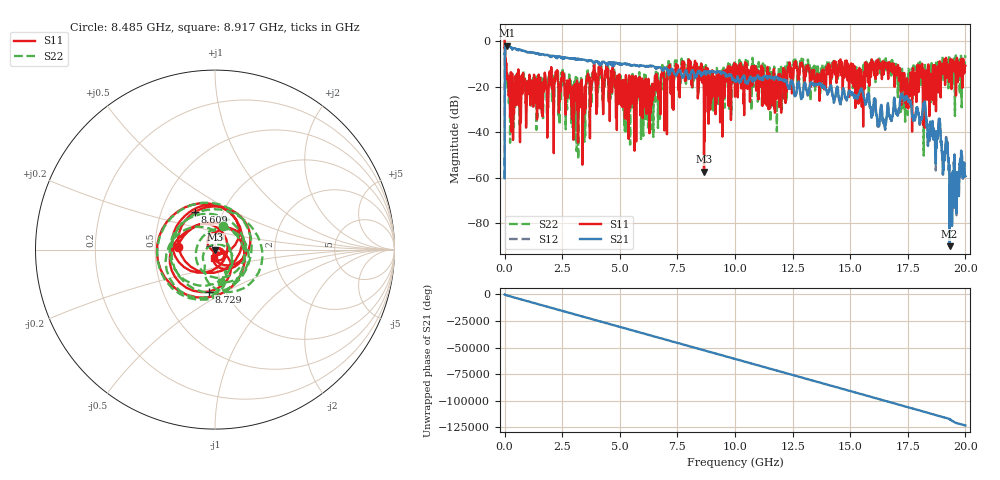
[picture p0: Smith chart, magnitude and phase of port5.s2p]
! MS46122B
! 2250307/22442219
! 2/20/2026 8:58:00 AM
! C:\USERS\SPARKY\DOCUMENTS\VNA_DATA\FEB20_2026\PORT5.S2P
! CHANNEL.1
! TR.MEASUREMENT
! RAW.DATA
# GHZ S RI R 50.0
! FREQ.GHZ  S11RE  S11IM  S21RE  S21IM  S12RE  S12IM  S22RE  S22IM
!; PortSelection: Port_12
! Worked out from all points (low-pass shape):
!   10001 points, 1 MHz to 20 GHz, reference 50 ohm
!   highest |S21| = -1.94 dB at 93 MHz (marker M1); lowest = -90.0 dB at 19.32 GHz (marker M2)
!   |S21| within 3 dB of the highest: 20.05 MHz to 1.177 GHz (1.156 GHz wide, 193 % of centre); 1.188 GHz to 1.229 GHz (41.73 MHz wide, 3.45 % of centre)
!   lowest |S11| = -57.3 dB at 8.657 GHz (marker M3), VSWR 1.00, Z = 50.1 + j0.00937 ohm
!   |S11| at or under -10 dB: 75.98 MHz to 3.882 GHz (3.806 GHz wide, 192 % of centre); 4.433 GHz to 7.443 GHz (3.01 GHz wide, 50.7 % of centre); 10.51 GHz to 12.35 GHz (1.842 GHz wide, 16.1 % of centre) (the widest 3 of 60)
!   |S22| runs from -51.9 to -0.2 dB; largest |S21 - S12| = 0.068
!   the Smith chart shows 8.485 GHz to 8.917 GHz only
!   S11 on the Smith chart (normalised r, x): 8.485 GHz: 0.65, +0.02; 8.609 GHz: 0.74, +0.33; 8.729 GHz: 0.84, -0.42; 8.917 GHz: 0.98, -0.09
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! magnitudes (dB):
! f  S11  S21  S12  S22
! 1 MHz  0.4  -60.2  -60.3  -0.2
! 93 MHz  -15.0  -1.9  -2.0  -18.3
! 435 MHz  -19.5  -3.1  -3.1  -19.4
! 2.249 GHz  -16.2  -6.6  -6.7  -14.9
! 3.335 GHz  -18.5  -8.0  -8.1  -18.2
! 4.133 GHz  -12.5  -9.6  -9.7  -13.9
! 5.245 GHz  -19.7  -9.8  -9.9  -24.1
! 6.669 GHz  -20.7  -11.4  -11.5  -21.0
! 8.485 GHz  -13.6  -13.5  -14.0  -17.1
! 8.609 GHz  -12.5  -13.9  -14.1  -12.9
! 8.657 GHz  -57.3  -13.6  -13.4  -17.2
! 8.729 GHz  -12.5  -14.6  -14.3  -10.7
! 8.917 GHz  -26.6  -13.7  -13.7  -14.8
! 10 GHz  -24.3  -17.6  -17.0  -9.3
! 13.33 GHz  -16.8  -18.2  -18.4  -14.3
! 16.67 GHz  -11.6  -31.3  -31.3  -10.9
! 17.41 GHz  -18.4  -24.4  -24.5  -21.8
! 18.22 GHz  -18.0  -27.3  -27.3  -12.9
! 18.41 GHz  -12.0  -42.2  -42.7  -14.5
! 18.87 GHz  -10.1  -35.0  -35.3  -15.9
! 19.32 GHz  -17.1  -90.0  -85.1  -6.5
! 20 GHz  -10.7  -59.1  -60.0  -6.1
